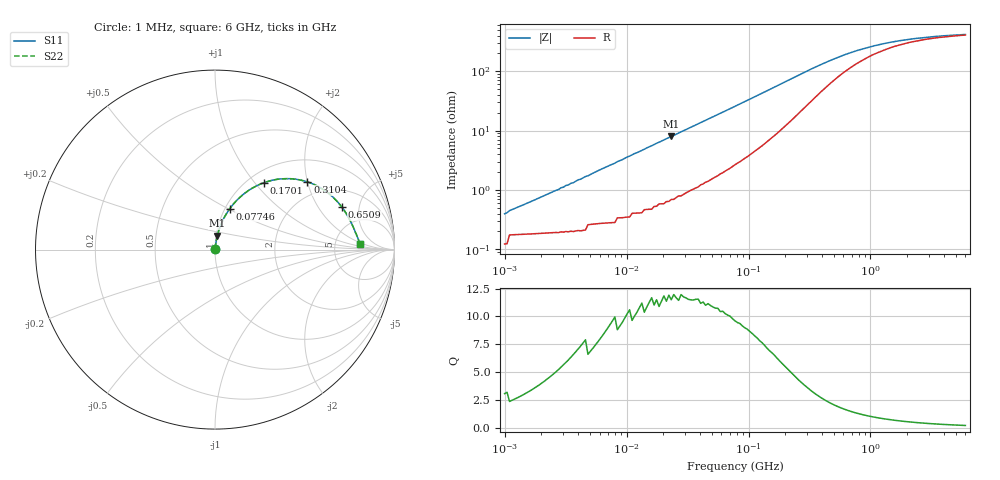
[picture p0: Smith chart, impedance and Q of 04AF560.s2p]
# MHz S MA R 50
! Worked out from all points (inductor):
!   189 points, 1 MHz to 6 GHz, reference 50 ohm
!   read as one part in series: L = 59.7 nH near 1 MHz
!   highest Q = 11.9 at 23.26 MHz (marker M1), where L = 54.4 nH
!   S11 on the Smith chart (normalised r, x): 1 MHz: 1.00, +0.01; 77.46 MHz: 1.05, +0.51; 170.1 MHz: 1.18, +1.11; 310.4 MHz: 1.57, +2.00; 650.9 MHz: 3.14, +3.33; 6 GHz: 9.15, +1.70
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1  0.004041 68.5  0.999 -0.2  0.999 -0.2  0.004041 68.5
2.768  0.01 78.7  0.998 -0.6  0.998 -0.6  0.01 78.7
2.899  0.011 79.0  0.998 -0.6  0.998 -0.6  0.011 79.0
3.036  0.011 79.2  0.998 -0.6  0.998 -0.6  0.011 79.2
3.18  0.012 79.5  0.998 -0.7  0.998 -0.7  0.012 79.5
3.653  0.013 80.2  0.998 -0.8  0.998 -0.8  0.013 80.2
4.008  0.015 80.6  0.998 -0.8  0.998 -0.8  0.015 80.6
4.396  0.016 80.9  0.998 -0.9  0.998 -0.9  0.016 80.9
18.454  0.063 81.4  0.992 -3.6  0.992 -3.6  0.063 81.4
23.258  0.079 80.6  0.99 -4.5  0.99 -4.5  0.079 80.6
46.56  0.152 76.1  0.975 -8.7  0.975 -8.7  0.152 76.1
77.46  0.243 70.1  0.945 -14.0  0.945 -14.0  0.243 70.1
117.475  0.348 62.7  0.896 -20.2  0.896 -20.2  0.348 62.7
170.105  0.461 53.9  0.818 -27.1  0.818 -27.1  0.461 53.9
235.176  0.563 44.6  0.718 -33.4  0.718 -33.4  0.563 44.6
310.436  0.638 36.3  0.615 -37.9  0.615 -37.9  0.638 36.3
340.538  0.659 33.6  0.58 -38.9  0.58 -38.9  0.659 33.6
470.805  0.713 25.1  0.466 -40.5  0.466 -40.5  0.713 25.1
650.904  0.745 18.5  0.376 -38.9  0.376 -38.9  0.745 18.5
1429.415  0.782 8.7  0.256 -27.6  0.256 -27.6  0.782 8.7
2997.112  0.799 4.4  0.212 -16.6  0.212 -16.6  0.799 4.4
6000  0.809 2.3  0.194 -9.5  0.194 -9.5  0.809 2.3
